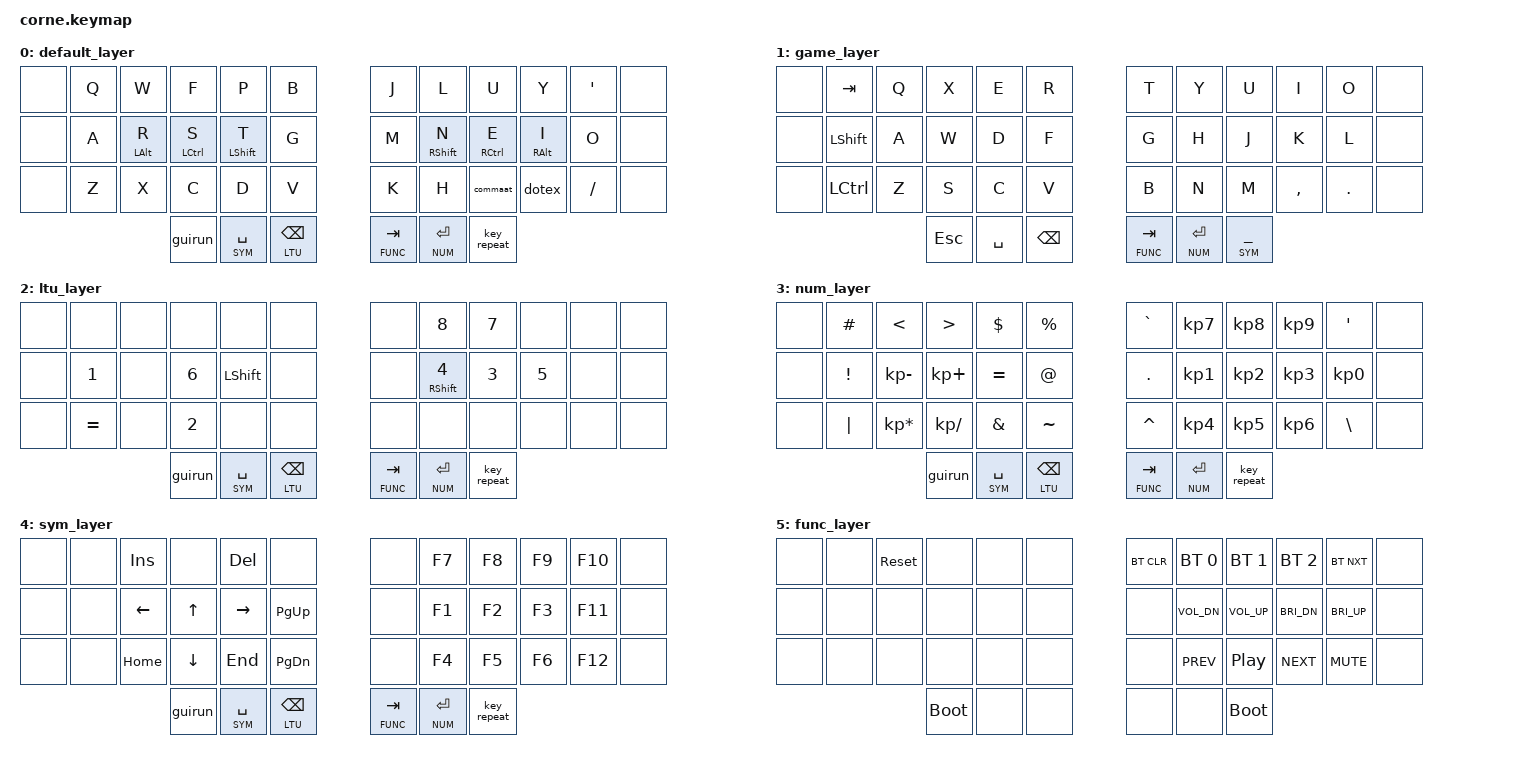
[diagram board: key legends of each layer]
#include <dt-bindings/zmk/keys.h>
#include <dt-bindings/zmk/bt.h>
#include <dt-bindings/zmk/ext_power.h>
#include <behaviors.dtsi>

// LAYERS
#define DEFAULT 0
#define GAME    1
#define LTU     2
#define NUM     3
#define SYM     4
#define FUNC    5

#define ALL 0 2 3 4 5

// TO DO:
// easy desktop switching
// notepad open shortcut??
// remap < and > with other symbols like ( and )



&mt {
  tapping-term-ms = <160>;
  flavor = "tap-preferred";
};

/ {

  behaviors {
    hm: homerow_mods {
      compatible = "zmk,behavior-hold-tap";
      label = "HOMEROW_MODS";
      #binding-cells = <2>;
      tapping-term-ms = <160>;
      quick-tap-ms = <0>;
      flavor = "tap-preferred";
      bindings = <&kp>, <&kp>;
    };

    commaat: comma_at {
        compatible = "zmk,behavior-mod-morph";
        #binding-cells = <0>;
        bindings = <&kp COMMA>, <&kp AT>;
        mods = <(MOD_LSFT|MOD_RSFT)>;
    };
    dotex: dot_exlamation {
        compatible = "zmk,behavior-mod-morph";
        #binding-cells = <0>;
        bindings = <&kp DOT>, <&kp EXCL>;
        mods = <(MOD_LSFT|MOD_RSFT)>;
    };


// &hm LALT R  &hm LCTRL S &hm LSHIFT T    &kp G   /**/  &kp M    &hm RSHIFT N    &hm RCTRL E &hm RALT I

    /*
    laltr: l_alt_R {
        compatible = "zmk,behavior-tap-dance";
        #binding-cells = <0>;
        tapping-term-ms = <200>;
        bindings = <&hm LALT R>, <&kp R>;
    };
    lctrls: l_control_S {
        compatible = "zmk,behavior-tap-dance";
        #binding-cells = <0>;
        tapping-term-ms = <200>;
        bindings = <&hm LCTRL S>, <&kp S>;
    };
    lshftt: l_shift_T {
        compatible = "zmk,behavior-tap-dance";
        #binding-cells = <0>;
        tapping-term-ms = <200>;
        bindings = <&hm LSHIFT T>, <&kp T>;
    };

    ralti: r_alt_I {
        compatible = "zmk,behavior-tap-dance";
        #binding-cells = <0>;
        tapping-term-ms = <200>;
        bindings = <&hm RALT I>, <&kp I>;
    };
    rctrle: r_control_E {
        compatible = "zmk,behavior-tap-dance";
        #binding-cells = <0>;
        tapping-term-ms = <200>;
        bindings = <&hm RCTRL E>, <&kp E>;
    };
    rshftn: r_shift_N {
        compatible = "zmk,behavior-tap-dance";
        #binding-cells = <0>;
        tapping-term-ms = <200>;
        bindings = <&hm RSHIFT N>, <&kp N>;
    };
    */

  // &hm LGUI LA(SPACE)  &lt SYM SPACE &lt LTU BSPC /**/  &lt FUNC TAB &lt NUM RET &kp UNDERSCORE

    guirun: lgui_powertoysrun {
        compatible = "zmk,behavior-tap-dance";
        #binding-cells = <0>;
        tapping-term-ms = <200>;
        bindings = <&hm LGUI LA(SPACE)>, <&kp LGUI>;
    };
    /*
    symspace: sym_space {
        compatible = "zmk,behavior-tap-dance";
        #binding-cells = <0>;
        tapping-term-ms = <200>;
        bindings = <&lt SYM SPACE>, <&kp SPACE>;
    };
    ltubspc: ltu_backspace {
        compatible = "zmk,behavior-tap-dance";
        #binding-cells = <0>;
        tapping-term-ms = <200>;
        bindings = <&lt LTU BSPC>, <&kp BSPC>;
    };
    functab: func_tab {
        compatible = "zmk,behavior-tap-dance";
        #binding-cells = <0>;
        tapping-term-ms = <200>;
        bindings = <&lt FUNC TAB>, <&kp TAB>;
    };
    numret: num_return {
        compatible = "zmk,behavior-tap-dance";
        #binding-cells = <0>;
        tapping-term-ms = <200>;
        bindings = <&lt NUM RET>, <&kp RET>;
    };
    */

  };

  combos {
    compatible = "zmk,combos";

    combo_colon {
        timeout-ms = <50>;
        layers = <ALL>;
        key-positions = <7 9>;
        bindings = <&kp COLON>;
    };
    combo_rsquare {
        timeout-ms = <50>;
        layers = <ALL>;
        key-positions = <8 9>;
        bindings = <&kp RIGHT_BRACKET>;
    };
    combo_snip {
        timeout-ms = <50>;
        layers = <DEFAULT>;
        key-positions = <9 10>;
        bindings = <&kp LG(LS(S))>;
    };

    /*combo_repeat {
        timeout-ms = <50>;
        key-positions = <19 20>;
        bindings = <&key_repeat>;
    };*/
    combo_semicolon {
        timeout-ms = <50>;
        layers = <ALL>;
        key-positions = <19 21>;
        bindings = <&kp SEMICOLON>;
    };
    combo_rcurly {
        timeout-ms = <50>;
        layers = <ALL>;
        key-positions = <20 21>;
        bindings = <&kp RIGHT_PARENTHESIS>;
    };
    combo_redo {
        timeout-ms = <50>;
        layers = <ALL>;
        key-positions = <21 22>;
        bindings = <&kp RC(RS(Z))>;
    };


    combo_caps {
        timeout-ms = <50>;
        layers = <DEFAULT>;
        key-positions = <31 32>;
        bindings = <&caps_word>;
    };
    combo_rpointy {
        timeout-ms = <50>;
        layers = <ALL>;
        key-positions = <31 33>;
        bindings = <&kp GREATER_THAN>;
    };
    combo_rsquiggly {
        timeout-ms = <50>;
        layers = <ALL>;
        key-positions = <32 33>;
        bindings = <&kp RIGHT_BRACE>;
    };
    combo_picker {
        timeout-ms = <50>;
        layers = <DEFAULT>;
        key-positions = <33 34>;
        bindings = <&kp LG(LS(C))>;
    };

    //  0  //   1   2   3   4   5  |||   6   7   8   9  10  //  11
    // 12  //  13  14  15  16  17  |||  18  19  20  21  22  //  23
    // 24  //  25  26  27  28  29  |||  30  31  32  33  34  //  35
    //                 36  37  38  |||  39  40  41

    combo_lsquare {
        timeout-ms = <50>;
        layers = <ALL>;
        key-positions = <2 3>;
        bindings = <&kp LEFT_BRACKET>;
    };
    combo_dash {
        timeout-ms = <50>;
        layers = <ALL>;
        key-positions = <2 4>;
        bindings = <&kp KP_MINUS>;
    };
    combo_paste {
        timeout-ms = <50>;
        layers = <ALL>;
        key-positions = <3 4>;
        bindings = <&kp RC(V)>;
    };
    combo_game_out {
        timeout-ms = <50>;
        layers = <GAME>;
        key-positions = <3 4>;
        bindings = <&tog GAME>;
    };


    combo_undo {
        timeout-ms = <50>;
        layers = <ALL>;
        key-positions = <13 14>;
        bindings = <&kp RC(Z)>;
    };
    combo_lcurly {
        timeout-ms = <50>;
        layers = <ALL>;
        key-positions = <14 15>;
        bindings = <&kp LEFT_PARENTHESIS>;
    };
    combo_underscore {
        timeout-ms = <50>;
        layers = <ALL>;
        key-positions = <14 16>;
        bindings = <&tog GAME>;
    };
    combo_game_in {
        timeout-ms = <50>;
        layers = <DEFAULT>;
        key-positions = <15 16>;
        bindings = <&tog GAME>;
    };

    combo_lsquiggly {
        timeout-ms = <50>;
        layers = <ALL>;
        key-positions = <26 27>;
        bindings = <&kp LEFT_BRACE>;
    };
    combo_copy {
        timeout-ms = <50>;
        layers = <ALL>;
        key-positions = <27 28>;
        bindings = <&kp RC(C)>;
    };
    combo_cut {
        timeout-ms = <50>;
        layers = <ALL>;
        key-positions = <26 27 28>;
        bindings = <&kp RC(X)>;
    };
    combo_lpointy {
        timeout-ms = <50>;
        layers = <ALL>;
        key-positions = <26 28>;
        bindings = <&kp LESS_THAN>;
    };
  };

  keymap {
    compatible = "zmk,keymap";

    default_layer {
      bindings = <

  &none   /**/  &kp Q      &kp W       &kp F       &kp P        &kp B   /**/  &kp J    &kp L        &kp U       &kp Y      &kp SQT   /**/  &none
  &none   /**/  &kp A      &hm LALT R  &hm LCTRL S &hm LSHIFT T &kp G   /**/  &kp M    &hm RSHIFT N &hm RCTRL E &hm RALT I &kp O     /**/  &none
  &none   /**/  &kp Z      &kp X       &kp C       &kp D        &kp V   /**/  &kp K    &kp H        &commaat    &dotex     &kp FSLH  /**/  &none
                                     &guirun &lt SYM SPACE &lt LTU BSPC /**/  &lt FUNC TAB &lt NUM RET &key_repeat

      >;
    };

    game_layer {
      bindings = <
      
  &none   /**/  &kp TAB      &kp Q    &kp X    &kp E   &kp R   /**/  &kp T    &kp Y    &kp U   &kp I      &kp O   /**/  &none
  &none   /**/  &kp LSHIFT   &kp A    &kp W    &kp D   &kp F   /**/  &kp G    &kp H    &kp J   &kp K      &kp L   /**/  &none
  &none   /**/  &kp LCTRL    &kp Z    &kp S    &kp C   &kp V   /**/  &kp B    &kp N    &kp M   &kp COMMA  &kp DOT /**/  &none
                                   &kp ESC  &kp SPACE &kp BSPC /**/  &lt FUNC TAB &lt NUM RET &lt SYM UNDERSCORE

      >;
    };

    ltu_layer {
      bindings = <

  &none   /**/  &none      &none     &none      &none       &none  /**/  &none     &kp N8         &kp N7    &none     &none  /**/  &none
  &none   /**/  &kp N1     &none     &kp N6     &kp LSHIFT  &none  /**/  &none     &hm RSHIFT N4  &kp N3    &kp N5    &none  /**/  &none
  &none   /**/  &kp EQUAL  &none     &kp N2     &none       &none  /**/  &none     &none          &none     &none     &none  /**/  &none
                                &guirun &lt SYM SPACE &lt LTU BSPC /**/  &lt FUNC TAB &lt NUM RET &key_repeat

      >;
    };

    num_layer {
      bindings = <

   &none /**/  &kp HASH &kp LESS_THAN   &kp GREATER_THAN  &kp DOLLAR    &kp PERCENT  /**/  &kp GRAVE  &kp KP_N7  &kp KP_N8  &kp KP_N9  &kp SQT   /**/  &none
   &none /**/  &kp EXCL &kp KP_MINUS    &kp KP_PLUS       &kp EQUAL     &kp AT       /**/  &kp DOT    &kp KP_N1  &kp KP_N2  &kp KP_N3  &kp KP_N0 /**/  &none
   &none /**/  &kp PIPE &kp KP_MULTIPLY &kp KP_DIVIDE     &kp AMPERSAND &kp TILDE    /**/  &kp CARET  &kp KP_N4  &kp KP_N5  &kp KP_N6  &kp BSLH  /**/  &none
                                                  &guirun &lt SYM SPACE &lt LTU BSPC /**/  &lt FUNC TAB &lt NUM RET &key_repeat


      >;
    };

    sym_layer {
      bindings = <

  &none   /**/  &none  &kp INSERT &none    &kp DELETE &none     /**/ &none    &kp F7    &kp F8  &kp F9   &kp F10 /**/  &none
  &none   /**/  &none  &kp LEFT   &kp UP   &kp RIGHT  &kp PG_UP /**/ &none    &kp F1    &kp F2  &kp F3   &kp F11  /**/  &none
  &none   /**/  &none  &kp HOME   &kp DOWN &kp END    &kp PG_DN /**/ &none    &kp F4    &kp F5  &kp F6   &kp F12  /**/  &none
                             &guirun &lt SYM SPACE &lt LTU BSPC /**/  &lt FUNC TAB &lt NUM RET &key_repeat


      >;
    };

    func_layer {
      bindings = <

  &none   /**/    &none &sys_reset &none &none &none /**/  &bt BT_CLR  &bt BT_SEL 0    &bt BT_SEL 1    &bt BT_SEL 2    &bt BT_NXT      /**/  &none
  &none   /**/    &none &none      &none &none &none /**/  &none       &kp C_VOL_DN    &kp C_VOL_UP    &kp C_BRI_DN    &kp C_BRI_UP    /**/  &none
  &none   /**/    &none &none      &none &none &none /**/  &none       &kp C_PREV      &kp C_PP        &kp C_NEXT      &kp C_MUTE      /**/  &none
                             &bootloader &none &none /**/  &none &none &bootloader

      >;
    };

  };


};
